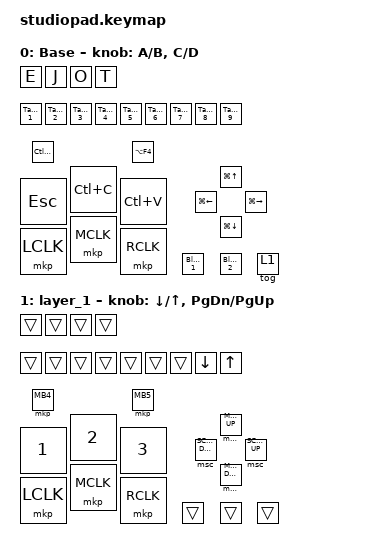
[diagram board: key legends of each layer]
#define ZMK_POINTING_DEFAULT_MOVE_VAL 2000  // default: 600
#define ZMK_POINTING_DEFAULT_SCRL_VAL 20    // default: 10

#include <behaviors.dtsi>
#include <dt-bindings/zmk/bt.h>
#include <dt-bindings/zmk/keys.h>
#include <dt-bindings/zmk/pointing.h>

&mt {
    tapping-term-ms = <250>;
    flavor = "tap-preferred";
};

/ {
    combos {
        compatible = "zmk,combos";

        Delete {
            bindings = <&lt 7 DELETE>;
            key-positions = <2 1>;
            layers = <0>;
        };

        AllTabs {
            bindings = <&WinTab>;
            key-positions = <0 1 2>;
        };

        SwitchWindows {
            bindings = <&kp LA(TAB)>;
            key-positions = <7 6>;
        };

        SwitchInternal {
            bindings = <&kp LC(TAB)>;
            key-positions = <7 5>;
        };

        Undo {
            bindings = <&kp LC(Z)>;
            key-positions = <5 6>;
        };

        Save {
            bindings = <&kp LC(S)>;
            key-positions = <0 1>;
        };
    };

    macros {
        Bluetooth_1: Bluetooth_1 {
            compatible = "zmk,behavior-macro";
            #binding-cells = <0>;
            bindings = <&bt BT_SEL 0>;
            label = "Bluetooth_1";
        };

        Taskbar_2: Taskbar_2 {
            compatible = "zmk,behavior-macro";
            #binding-cells = <0>;
            bindings =
                <&macro_press>,
                <&kp LEFT_WIN>,
                <&macro_tap>,
                <&kp NUMBER_2>,
                <&macro_release>,
                <&kp LEFT_WIN>;

            label = "TASKBAR_2";
            wait-ms = <50>;
            tap-ms = <50>;
        };

        Taskbar_3: Taskbar_3 {
            compatible = "zmk,behavior-macro";
            #binding-cells = <0>;
            bindings =
                <&macro_press>,
                <&kp LEFT_WIN>,
                <&macro_tap>,
                <&kp NUMBER_3>,
                <&macro_release>,
                <&kp LEFT_WIN>;

            label = "TASKBAR_3";
            wait-ms = <50>;
            tap-ms = <50>;
        };

        Taskbar_4: Taskbar_4 {
            compatible = "zmk,behavior-macro";
            #binding-cells = <0>;
            bindings =
                <&macro_press>,
                <&kp LEFT_WIN>,
                <&macro_tap>,
                <&kp NUMBER_4>,
                <&macro_release>,
                <&kp LEFT_WIN>;

            label = "TASKBAR_4";
            wait-ms = <50>;
            tap-ms = <50>;
        };

        Taskbar_5: Taskbar_5 {
            compatible = "zmk,behavior-macro";
            #binding-cells = <0>;
            bindings =
                <&macro_press>,
                <&kp LEFT_WIN>,
                <&macro_tap>,
                <&kp N5>,
                <&macro_release>,
                <&kp LEFT_WIN>;

            label = "TASKBAR_5";
            wait-ms = <50>;
            tap-ms = <50>;
        };

        CtrlAltDel: CtrlAltDel {
            compatible = "zmk,behavior-macro";
            #binding-cells = <0>;
            bindings =
                <&macro_press>,
                <&kp LEFT_CONTROL>,
                <&macro_press>,
                <&kp LEFT_ALT>,
                <&macro_press>,
                <&kp DELETE>,
                <&macro_release>,
                <&kp LEFT_CONTROL>,
                <&macro_release>,
                <&kp LEFT_ALT>,
                <&macro_release>,
                <&kp DELETE>;

            label = "CTRLALTDEL";
        };

        Taskbar_6: Taskbar_6 {
            compatible = "zmk,behavior-macro";
            #binding-cells = <0>;
            bindings =
                <&macro_press>,
                <&kp LEFT_WIN>,
                <&macro_tap>,
                <&kp NUMBER_6>,
                <&macro_release>,
                <&kp LEFT_WIN>;

            label = "TASKBAR_6";
            wait-ms = <50>;
            tap-ms = <50>;
        };

        Taskbar_7: Taskbar_7 {
            compatible = "zmk,behavior-macro";
            #binding-cells = <0>;
            bindings =
                <&macro_press>,
                <&kp LEFT_WIN>,
                <&macro_tap>,
                <&kp N7>,
                <&macro_release>,
                <&kp LEFT_WIN>;

            label = "TASKBAR_7";
            wait-ms = <50>;
            tap-ms = <50>;
        };

        Taskbar_8: Taskbar_8 {
            compatible = "zmk,behavior-macro";
            #binding-cells = <0>;
            bindings =
                <&macro_press>,
                <&kp LEFT_WIN>,
                <&macro_tap>,
                <&kp N8>,
                <&macro_release>,
                <&kp LEFT_WIN>;

            label = "TASKBAR_8";
            wait-ms = <50>;
            tap-ms = <50>;
        };

        Taskbar_9: Taskbar_9 {
            compatible = "zmk,behavior-macro";
            #binding-cells = <0>;
            bindings =
                <&macro_press>,
                <&kp LEFT_WIN>,
                <&macro_tap>,
                <&kp NUMBER_9>,
                <&macro_release>,
                <&kp LEFT_WIN>;

            label = "TASKBAR_9";
            wait-ms = <50>;
            tap-ms = <50>;
        };

        Taskbar_10: Taskbar_10 {
            compatible = "zmk,behavior-macro";
            #binding-cells = <0>;
            bindings =
                <&macro_press>,
                <&kp LEFT_WIN>,
                <&macro_tap>,
                <&kp NUMBER_0>,
                <&macro_release>,
                <&kp LEFT_WIN>;

            label = "TASKBAR_10";
            wait-ms = <50>;
            tap-ms = <50>;
        };

        Taskbar_1: Taskbar_1 {
            compatible = "zmk,behavior-macro";
            #binding-cells = <0>;
            bindings =
                <&macro_press>,
                <&kp LEFT_WIN>,
                <&macro_tap>,
                <&kp NUMBER_1>,
                <&macro_release>,
                <&kp LEFT_WIN>;

            label = "TASKBAR_1";
            wait-ms = <50>;
            tap-ms = <50>;
        };

        Bluetooth_2: Bluetooth_2 {
            compatible = "zmk,behavior-macro";
            #binding-cells = <0>;
            bindings = <&bt BT_SEL 1>;
            label = "BLUETOOTH_2";
        };

        Bluetooth_3: Bluetooth_3 {
            compatible = "zmk,behavior-macro";
            #binding-cells = <0>;
            bindings = <&bt BT_SEL 2>;
            label = "BLUETOOTH_3";
        };

        NewWindow_macro: NewWindow_macro {
            compatible = "zmk,behavior-macro";
            #binding-cells = <0>;
            bindings =
                <&macro_press>,
                <&kp LEFT_WIN>,
                <&macro_tap>,
                <&kp E>,
                <&macro_release>,
                <&kp LEFT_WIN>;

            label = "NEWWINDOW_MACRO";
            wait-ms = <50>;
            tap-ms = <50>;
        };

        Switch_macro: Switch_macro {
            compatible = "zmk,behavior-macro";
            #binding-cells = <0>;
            bindings =
                <&macro_press>,
                <&kt LEFT_WIN>,
                <&macro_tap>,
                <&kp TAB>,
                <&macro_release>,
                <&kp LEFT_WIN>;

            label = "SWITCH_MACRO";
            wait-ms = <25>;
            tap-ms = <25>;
        };

        paint_macro: paint_macro {
            compatible = "zmk,behavior-macro";
            #binding-cells = <0>;
            bindings =
                <&macro_press>,
                <&kp LEFT_WIN>,
                <&macro_tap>,
                <&kp NUMBER_1>,
                <&macro_release>,
                <&kp LEFT_WIN>;

            label = "PAINT_MACRO";
            wait-ms = <50>;
            tap-ms = <50>;
        };

        Brackets_macro: Brackets_macro {
            compatible = "zmk,behavior-macro";
            #binding-cells = <0>;
            bindings = <&kp LEFT_PARENTHESIS &kp RIGHT_PARENTHESIS &kp LEFT>;
            label = "BRACKETS_MACRO";
            wait-ms = <50>;
            tap-ms = <50>;
        };

        CB_History_macro: CB_History_macro {
            compatible = "zmk,behavior-macro";
            #binding-cells = <0>;
            bindings =
                <&macro_press>,
                <&kp LEFT_WIN>,
                <&macro_tap>,
                <&kp V>,
                <&macro_release>,
                <&kp LEFT_WIN>;

            label = "CB_History_macro";
            wait-ms = <1>;
            tap-ms = <1>;
        };

        MoveRight_macro: MoveRight_macro {
            compatible = "zmk,behavior-macro";
            #binding-cells = <0>;
            bindings =
                <&macro_press>,
                <&kp LEFT_WIN &kp LEFT_SHIFT>,
                <&macro_tap>,
                <&kp RIGHT>,
                <&macro_release>,
                <&kp LEFT_WIN &kp LEFT_SHIFT>;

            label = "MOVERIGHT_MACRO";
            wait-ms = <1>;
            tap-ms = <1>;
        };

        SelectLine_macro: SelectLine_macro {
            compatible = "zmk,behavior-macro";
            #binding-cells = <0>;
            bindings = <&kp HOME &kp LS(END)>;
            label = "SELECTLINE_MACRO";
        };

        MoveLeft_macro: MoveLeft_macro {
            compatible = "zmk,behavior-macro";
            #binding-cells = <0>;
            bindings =
                <&macro_press>,
                <&kp LEFT_WIN &kp LEFT_SHIFT>,
                <&macro_tap>,
                <&kp LEFT>,
                <&macro_release>,
                <&kp LEFT_WIN &kp LEFT_SHIFT>;

            label = "MOVELEFT_MACRO";
            wait-ms = <1>;
            tap-ms = <1>;
        };

        TextExtractor_macro: TextExtractor_macro {
            compatible = "zmk,behavior-macro";
            #binding-cells = <0>;
            bindings =
                <&macro_press>,
                <&kp LEFT_WIN &kp LEFT_SHIFT>,
                <&macro_tap>,
                <&kp T>,
                <&macro_release>,
                <&kp LEFT_WIN &kp LEFT_SHIFT>;

            label = "TEXTEXTRACTOR_MACRO";
            wait-ms = <1>;
            tap-ms = <1>;
        };

        ACADE_SaveZoomClose: SaveZoomClose {
            compatible = "zmk,behavior-macro";
            #binding-cells = <0>;
            bindings = <&kp S &kp V &kp RET>;
            label = "SAVEZOOMCLOSE";
        };

        ACADE_CloseNoSave: ACADE_close {
            compatible = "zmk,behavior-macro";
            #binding-cells = <0>;
            bindings = <&kp C &kp C &kp RET>;
            label = "ACADE_CLOSE";
        };

        ACADE_edit: ACADE_edit {
            compatible = "zmk,behavior-macro";
            #binding-cells = <0>;
            bindings = <&kp E &kp D &kp I &kp T &kp RET>;
            label = "ACADE_EDIT";
        };

        ACADE_Align: ACADE_Align {
            compatible = "zmk,behavior-macro";
            #binding-cells = <0>;
            bindings = <&kp A &kp E &kp A &kp RET>;
            label = "ACADE_ALIGN";
        };

        ACADE_SaveNext: ACADE_SaveNext {
            compatible = "zmk,behavior-macro";
            #binding-cells = <0>;
            bindings = <&kp N &kp N &kp RET>;
            label = "ACADE_SAVENEXT";
        };

        ACADE_SavePrevious: ACADE_SavePrevious {
            compatible = "zmk,behavior-macro";
            #binding-cells = <0>;
            bindings = <&kp B &kp B &kp RET>;
            label = "ACADE_SAVEPREVIOUS";
        };

        ACADE_Wire: ACADE_Wire {
            compatible = "zmk,behavior-macro";
            #binding-cells = <0>;
            bindings = <&kp A &kp E &kp W &kp RET>;
            label = "ACADE_WIRE";
        };

        ACADE_FlipWireNo: ACADE_FlipWireNo {
            compatible = "zmk,behavior-macro";
            #binding-cells = <0>;
            bindings = <&kp A &kp E &kp F &kp L &kp W &kp RET>;
            label = "ACADE_FLIPWIRENO";
        };

        ACADE_Justify: ACADE_Justify {
            compatible = "zmk,behavior-macro";
            #binding-cells = <0>;
            bindings = <&kp A &kp E &kp J &kp RET>;
            label = "ACADE_JUSTIFY";
        };

        ACADE_Surf: ACADE_Surf {
            compatible = "zmk,behavior-macro";
            #binding-cells = <0>;
            bindings = <&kp A &kp E &kp S &kp RET>;
            label = "ACADE_SURF";
        };

        ACADE_TabEnter: ACADE_TabEnter {
            compatible = "zmk,behavior-macro";
            #binding-cells = <0>;
            bindings =
                <&macro_tap>,
                <&kp TAB>,
                <&macro_wait_time 50>,
                <&kp ENTER>;

            label = "ACADE_TABENTER";
        };

        ACADE_PAN: ACADE_PANS {
            compatible = "zmk,behavior-macro";
            #binding-cells = <0>;
            bindings =
                <&macro_tap>,
                <&kp P>,
                <&macro_wait_time 50>,
                <&kp ENTER>;

            label = "ACADE_PANS";
        };

        WinTab: WinTab {
            compatible = "zmk,behavior-macro";
            #binding-cells = <0>;
            bindings =
                <&macro_press>,
                <&kp LEFT_WIN>,
                <&macro_tap>,
                <&kp TAB>,
                <&macro_release>,
                <&kp LEFT_WIN>;

            label = "WINTAB";
            wait-ms = <50>;
            tap-ms = <50>;
        };
    };

    keymap {
        compatible = "zmk,keymap";

        default_layer {
            display-name = "Base";
            bindings = <
&kp ESCAPE    &kp LC(C)   &kp LC(V)   &kp LG(DOWN_ARROW)   &kp E
&mkp LCLK     &mkp MCLK   &mkp RCLK   &kp LG(RIGHT_ARROW)  &kp J
&Taskbar_1    &Taskbar_2  &Taskbar_3  &kp LG(UP_ARROW)     &kp O
&Taskbar_4    &Taskbar_5  &Taskbar_6  &kp LG(LEFT_ARROW)   &kp T
&Taskbar_7    &Taskbar_8  &Taskbar_9  &Bluetooth_2
&Bluetooth_1  &kp LA(F4)  &kp LC(F4)  &tog 1
            >;

            sensor-bindings = <&inc_dec_kp A B &inc_dec_kp C D>;
			};

        layer_1 {
            bindings = <
&kp NUMBER_1  &kp NUMBER_2    &kp NUMBER_3  &mmv MOVE_DOWN  &trans
&mkp LCLK     &mkp MCLK       &mkp RCLK     &msc SCRL_UP    &trans
&trans        &trans          &trans        &mmv MOVE_UP    &trans
&trans        &trans          &trans        &msc SCRL_DOWN  &trans
&trans        &kp DOWN_ARROW  &kp UP_ARROW  &trans
&trans        &mkp MB5        &mkp MB4      &trans
            >;

            sensor-bindings = <&inc_dec_kp DOWN_ARROW UP_ARROW &inc_dec_kp PAGE_DOWN PAGE_UP>;
        };
    };
};
